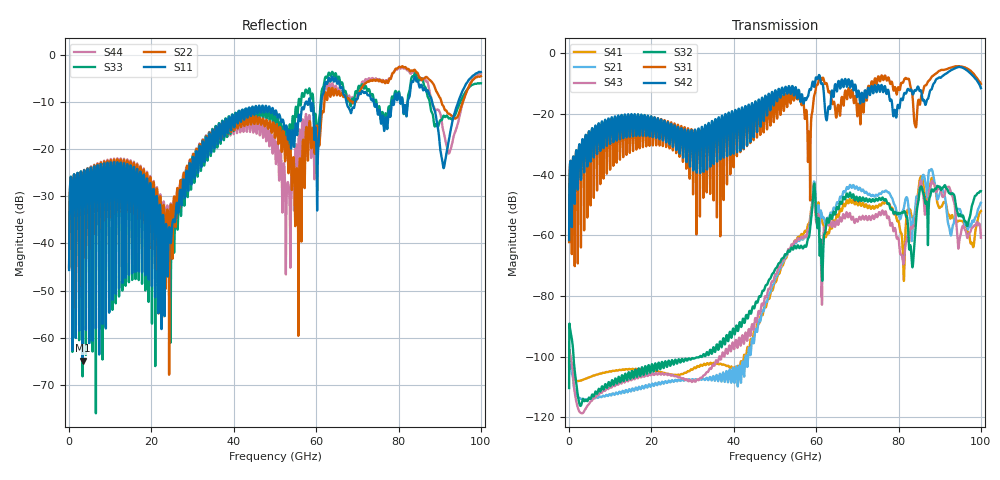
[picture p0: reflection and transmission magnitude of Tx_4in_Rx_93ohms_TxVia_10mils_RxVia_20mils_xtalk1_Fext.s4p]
! Info: Touchstone file created by Circ.  Input file=Tx_4in_Rx_93ohms_TxVia_10mils_RxVia_20mils.circ
# Hz S RI R 50
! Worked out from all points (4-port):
!   10000 points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, 10 MHz to 100 GHz, reference 50 ohm
!   strongest paths, dB at 10 MHz, 25.01 GHz, 50.01 GHz, 75.01 GHz, 100 GHz:
!     S42: -61.6, -25.6, -12.5, -10.4, -11.4
!     S31: -62.2, -25.8, -15.7, -7.8, -10.0
!     S32: -110.4, -101.2, -71.2, -48.5, -45.4
!     S43: -101.0, -106.1, -72.9, -53.5, -60.8
!     S21: -101.8, -107.8, -74.5, -46.9, -49.2
!     S41: -101.6, -105.9, -75.6, -50.6, -51.9
!   lowest |S11| = -64.9 dB at 3.27 GHz (marker M1), VSWR 1.00, Z = 50 + j0.0448 ohm
!   |S11| at or under -10 dB: start of sweep to 57.49 GHz; 73.98 GHz to 78.39 GHz (4.403 GHz wide, 5.78 % of centre); 88.16 GHz to 94.51 GHz (6.358 GHz wide, 6.96 % of centre)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
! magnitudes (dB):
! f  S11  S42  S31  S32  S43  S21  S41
! 10 MHz  -45.6  -61.6  -62.2  -110.4  -101.0  -101.8  -101.6
! 3.27 GHz  -64.9  -28.3  -28.4  -114.4  -118.7  -114.0  -107.7
! 24.29 GHz  -36.6  -27.8  -28.7  -101.6  -105.8  -108.0  -105.8
! 48.35 GHz  -11.7  -14.3  -17.2  -75.3  -77.9  -80.1  -81.0
! 59.33 GHz  -12.3  -10.0  -15.8  -45.5  -45.2  -44.4  -44.1
! 83.29 GHz  -5.7  -12.8  -13.0  -70.1  -57.8  -61.1  -53.9
! 100 GHz  -3.7  -11.4  -10.0  -45.4  -60.8  -49.2  -51.9
